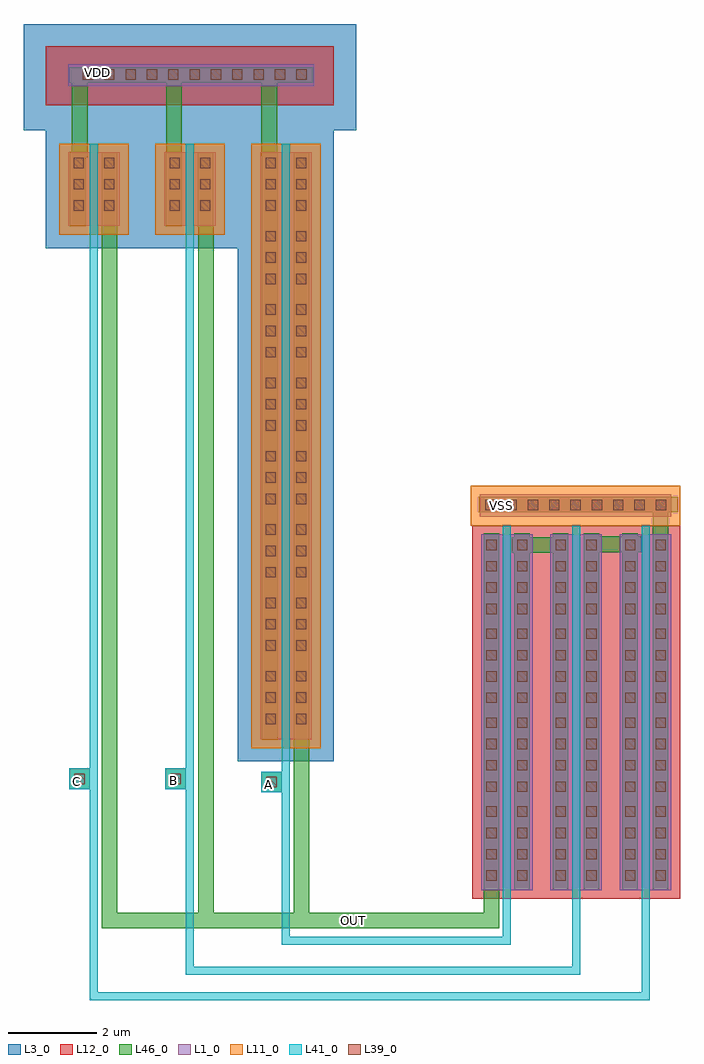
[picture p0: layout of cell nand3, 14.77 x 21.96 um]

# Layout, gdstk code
import gdstk
lib = gdstk.Library(unit=1e-6, precision=1e-09)
def R(c, l, rs):  # rectangles x0, y0, x1, y1
    for r in rs: c.add(gdstk.rectangle(r[:2], r[2:], *l))
def A(c, l, x, y, w, h, nx, ny, dx, dy):  # array of equal rectangles
    R(c, l, [(x+i*dx, y+j*dy, x+i*dx+w, y+j*dy+h) for i in range(nx) for j in range(ny)])
L1_0 = (1, 0)
L3_0 = (3, 0)
L11_0 = (11, 0)
L12_0 = (12, 0)
L39_0 = (39, 0)
L41_0 = (41, 0)
L46_0 = (46, 0)

pmos = lib.new_cell('pmos')
R(pmos, L1_0, [(-0.8,0.16,0.36,1.81)])
R(pmos, L3_0, [(-1.3,-0.34,0.86,2.31)])
R(pmos, L11_0, [(-1,-0.04,0.56,2.01)])
A(pmos, L39_0, -0.68, 0.5, 0.23, 0.23, 1, 3, 0, 0.48)
A(pmos, L39_0, 0.01, 0.5, 0.23, 0.23, 1, 3, 0, 0.48)
R(pmos, L41_0, [(-0.31,-0.04,-0.13,2.01)])
R(pmos, L46_0, [(-0.045,0.135,0.305,1.815), (-0.76,0.15,-0.41,1.83)])

nmos = lib.new_cell('nmos')
R(nmos, L1_0, [(-2.215,0.175,-1.055,2.175)])
R(nmos, L12_0, [(-2.415,-0.025,-0.855,2.375)])
A(nmos, L39_0, -2.095, 0.385, 0.23, 0.23, 1, 4, 0, 0.48)
A(nmos, L39_0, -1.405, 0.385, 0.23, 0.23, 1, 4, 0, 0.48)
R(nmos, L39_0, [(-2.095,1.825,-1.865,2.055), (-1.405,1.825,-1.175,2.055)])
R(nmos, L41_0, [(-1.725,-0.025,-1.545,2.375)])
R(nmos, L46_0, [(-2.16,0.17,-1.81,2.2), (-1.47,0.17,-1.12,2.2)])

nand3 = lib.new_cell('nand3')
R(nand3, L1_0, [(0.911,-4.855,5.221,-4.355), (-8.35,4.83,-2.816,5.33)])
R(nand3, L3_0, [(-9.35,3.84,-1.87,6.23)])
R(nand3, L11_0, [(0.711,-5.055,5.421,-4.155)])
R(nand3, L12_0, [(-8.85,4.4,-2.37,5.73)])
A(nand3, L39_0, 1.031, -4.705, 0.23, 0.23, 9, 1, 0.48, 0)
A(nand3, L39_0, -7.059, 4.98, 0.23, 0.23, 8, 1, 0.48, 0)
R(nand3, L39_0, [(-3.89,-10.94,-3.66,-10.71), (-8.21,-10.87,-7.98,-10.64), (-6.05,-10.87,-5.82,-10.64), (-7.539,4.977,-7.309,5.207), (-8.019,4.98,-7.789,5.21), (-3.215,4.98,-2.985,5.21)])
R(nand3, L41_0, [(-4.01,-11.06,-3.54,-10.59), (-8.33,-10.99,-7.86,-10.52), (-6.17,-10.99,-5.7,-10.52)])
R(nand3, L46_0, [(-4.01,-11.06,-3.54,-10.59), (-8.33,-10.99,-7.86,-10.52), (-6.17,-10.99,-5.7,-10.52), (1.625,-5.67,2.865,-5.32), (3.305,-5.65,4.545,-5.3), (4.805,-5.24,5.155,-4.53), (0.885,-4.76,5.365,-4.41), (-8.265,3.23,-7.915,5.097), (-4.005,3.25,-3.651,5.097), (-6.145,3.29,-5.795,5.087), (-8.34,4.91,-2.85,5.26)])
nand3.add(gdstk.FlexPath([(-5.61,1.45),(-5.61,1.55)], 0.18, ends="flush", simple_path=True, layer=41, datatype=0))  # L41_0
nand3.add(gdstk.FlexPath([(2.455,-15.07),(3.17,-15.07)], 0.18, ends="flush", simple_path=True, layer=41, datatype=0))  # L41_0
nand3.add(gdstk.FlexPath([(3.08,-15.16),(3.08,-13.07)], 0.18, ends="flush", simple_path=True, layer=41, datatype=0))  # L41_0
nand3.add(gdstk.FlexPath([(-5.61,0.61),(-5.61,1.48)], 0.18, ends="flush", simple_path=True, layer=41, datatype=0))  # L41_0
nand3.add(gdstk.FlexPath([(-5.61,0.61),(-5.61,-15.07),(2.46,-15.07)], 0.18, ends="flush", simple_path=True, layer=41, datatype=0))  # L41_0
nand3.add(gdstk.FlexPath([(-7.77,1.52),(-7.77,-15.64),(4.64,-15.64),(4.64,-13.03)], 0.18, ends="flush", simple_path=True, layer=41, datatype=0))  # L41_0
nand3.add(gdstk.FlexPath([(-3.45,-10.06),(-3.45,-14.4),(1.52,-14.4),(1.52,-13.01)], 0.18, ends="flush", simple_path=True, layer=41, datatype=0))  # L41_0
nand3.add(gdstk.FlexPath([(-7.42,1.33),(-7.42,1.65)], 0.35, ends="flush", simple_path=True, layer=46, datatype=0))  # L46_0
nand3.add(gdstk.FlexPath([(-7.42,-0.92),(-7.42,-0.53)], 0.35, ends="flush", simple_path=True, layer=46, datatype=0))  # L46_0
nand3.add(gdstk.FlexPath([(-7.595,-13.94),(-5.41,-13.94)], 0.35, ends="flush", simple_path=True, layer=46, datatype=0))  # L46_0
nand3.add(gdstk.FlexPath([(-7.42,-13.78),(-7.42,-0.77)], 0.35, ends="flush", simple_path=True, layer=46, datatype=0))  # L46_0
nand3.add(gdstk.FlexPath([(-7.42,-0.76),(-7.42,1.67)], 0.35, ends="flush", simple_path=True, layer=46, datatype=0))  # L46_0
nand3.add(gdstk.FlexPath([(-5.425,-13.94),(-3.26,-13.94)], 0.35, ends="flush", simple_path=True, layer=46, datatype=0))  # L46_0
nand3.add(gdstk.FlexPath([(-5.25,-13.79),(-5.25,1.67)], 0.35, ends="flush", simple_path=True, layer=46, datatype=0))  # L46_0
nand3.add(gdstk.FlexPath([(-3.1,-9.88),(-3.1,-13.94),(1.17,-13.94),(1.17,-12.77)], 0.35, ends="flush", simple_path=True, layer=46, datatype=0))  # L46_0
r = gdstk.Reference(pmos, (-3.23,-10.02)); r.repetition = gdstk.Repetition(1, 8, v1=(0.66,0), v2=(0,1.65)); nand3.add(r)
nand3.add(gdstk.Reference(pmos, (-7.55,1.53)))
nand3.add(gdstk.Reference(pmos, (-5.39,1.53)))
r = gdstk.Reference(nmos, (6.275,-13.43)); r.repetition = gdstk.Repetition(1, 4, v1=(0.755,0), v2=(0,2)); nand3.add(r)
r = gdstk.Reference(nmos, (4.715,-13.43)); r.repetition = gdstk.Repetition(1, 4, v1=(0.755,0), v2=(0,2)); nand3.add(r)
r = gdstk.Reference(nmos, (3.155,-13.43)); r.repetition = gdstk.Repetition(1, 4, v1=(0.755,0), v2=(0,2)); nand3.add(r)
nand3.add(gdstk.Label('VSS', (1.39,-4.6), layer=101, texttype=0))
nand3.add(gdstk.Label('OUT', (-1.94,-13.95), layer=101, texttype=0))
nand3.add(gdstk.Label('A', (-3.84,-10.88), layer=101, texttype=0))
nand3.add(gdstk.Label('B', (-5.99,-10.8), layer=101, texttype=0))
nand3.add(gdstk.Label('C', (-8.16,-10.81), layer=101, texttype=0))
nand3.add(gdstk.Label('VDD', (-7.69,5.13), layer=101, texttype=0))

lib.write_gds('nand3.gds')
